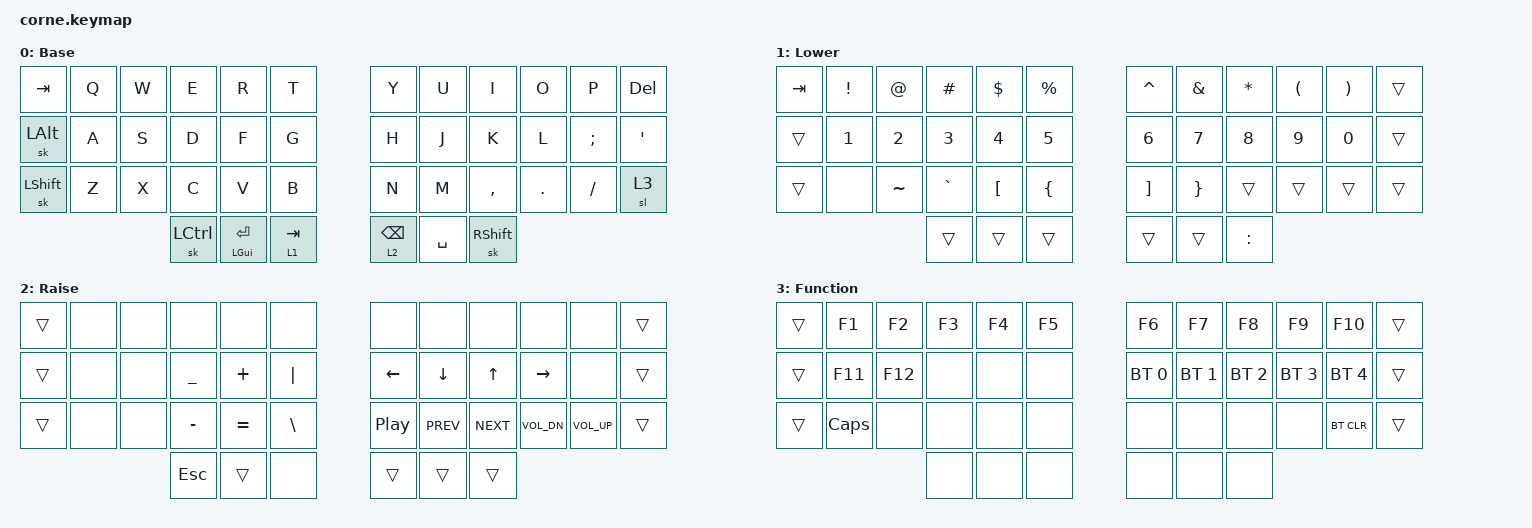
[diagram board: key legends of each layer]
/*
 * Copyright (c) 2020 The ZMK Contributors
 *
 * SPDX-License-Identifier: MIT
 */

#include <behaviors.dtsi>
#include <dt-bindings/zmk/bt.h>
#include <dt-bindings/zmk/keys.h>

/ {
    combos {
        compatible = "zmk,combos";

        esc {
            bindings = <&kp ESC>;
            key-positions = <19 20>;
            layers = <0>;
        };
    };

    behaviors {
        holdtap: holdtap {
            compatible = "zmk,behavior-hold-tap";
            label = "HOLDTAP";
            bindings = <&kp>, <&kp>;

            #binding-cells = <2>;
            tapping-term-ms = <200>;
        };
    };

    keymap {
        compatible = "zmk,keymap";

        default_layer {
            // -----------------------------------------------------------------------------------------
            // |  TAB |  Q  |  W  |  E  |  R  |  T  |   |  Y  |  U   |  I  |  O  |  P  | BKSP |
            // | CTRL |  A  |  S  |  D  |  F  |  G  |   |  H  |  J   |  K  |  L  |  ;  |  '   |
            // | SHFT |  Z  |  X  |  C  |  V  |  B  |   |  N  |  M   |  ,  |  .  |  /  | ESC  |
            //                    | GUI | LWR | SPC |   | ENT | RSE  | ALT |

            label = "Base";
            bindings = <
&kp TAB    &kp Q  &kp W  &kp E             &kp R                    &kp T        &kp Y            &kp U      &kp I            &kp O    &kp P     &kp DEL
&sk LALT   &kp A  &kp S  &kp D             &kp F                    &kp G        &kp H            &kp J      &kp K            &kp L    &kp SEMI  &kp SINGLE_QUOTE
&sk LSHFT  &kp Z  &kp X  &kp C             &kp V                    &kp B        &kp N            &kp M      &kp COMMA        &kp DOT  &kp FSLH  &sl 3
                         &sk LEFT_CONTROL  &holdtap LEFT_GUI ENTER  &lt 1 TAB    &lt 2 BACKSPACE  &kp SPACE  &sk RIGHT_SHIFT
            >;
        };

        lower_layer {
            // -----------------------------------------------------------------------------------------
            // |  TAB |  1  |  2  |  3  |  4  |  5  |   |  6  |  7  |  8  |  9  |  0  | BKSP |
            // | BTCLR| BT1 | BT2 | BT3 | BT4 | BT5 |   | LFT | DWN |  UP | RGT |     |      |
            // | SHFT |     |     |     |     |     |   |     |     |     |     |     |      |
            //                    | GUI |     | SPC |   | ENT |     | ALT |

            label = "Lower";
            bindings = <
&kp TAB  &kp EXCL      &kp AT        &kp HASH      &kp DOLLAR        &kp PERCENT       &kp CARET          &kp AMPS         &kp ASTRK     &kp LEFT_PARENTHESIS  &kp RIGHT_PARENTHESIS  &trans
&trans   &kp NUMBER_1  &kp NUMBER_2  &kp NUMBER_3  &kp NUMBER_4      &kp N5            &kp NUMBER_6       &kp NUMBER_7     &kp NUMBER_8  &kp NUMBER_9          &kp NUMBER_0           &trans
&trans   &none         &kp TILDE     &kp GRAVE     &kp LEFT_BRACKET  &kp LEFT_BRACE    &kp RIGHT_BRACKET  &kp RIGHT_BRACE  &trans        &trans                &trans                 &trans
                                     &trans        &trans            &trans            &trans             &trans           &kp COLON
            >;
        };

        raise_layer {
            // -----------------------------------------------------------------------------------------
            // |  TAB |  !  |  @  |  #  |  $  |  %  |   |  ^  |  &  |  *  |  (  |  )  | BKSP |
            // | CTRL |     |     |     |     |     |   |  -  |  =  |  [  |  ]  |  \  |  `   |
            // | SHFT |     |     |     |     |     |   |  _  |  +  |  {  |  }  | "|" |  ~   |
            //                    | GUI |     | SPC |   | ENT |     | ALT |

            label = "Raise";
            bindings = <
&trans  &none  &none  &none      &none      &none            &none             &none       &none         &none         &none            &trans
&trans  &none  &none  &kp UNDER  &kp PLUS   &kp PIPE         &kp LEFT          &kp DOWN    &kp UP_ARROW  &kp RIGHT     &none            &trans
&trans  &none  &none  &kp MINUS  &kp EQUAL  &kp BACKSLASH    &kp C_PLAY_PAUSE  &kp C_PREV  &kp C_NEXT    &kp C_VOL_DN  &kp C_VOLUME_UP  &trans
                      &kp ESC    &trans     &none            &trans            &trans      &trans
            >;
        };

        fun_layer {
            bindings = <
&trans  &kp F1    &kp F2   &kp F3  &kp F4  &kp F5    &kp F6        &kp F7        &kp F8        &kp F9        &kp F10       &trans
&trans  &kp F11   &kp F12  &none   &none   &none     &bt BT_SEL 0  &bt BT_SEL 1  &bt BT_SEL 2  &bt BT_SEL 3  &bt BT_SEL 4  &trans
&trans  &kp CAPS  &none    &none   &none   &none     &none         &none         &none         &none         &bt BT_CLR    &trans
                           &none   &none   &none     &none         &none         &none
            >;

            label = "Function";
        };
    };
};
